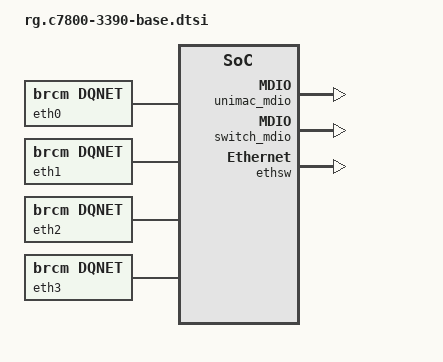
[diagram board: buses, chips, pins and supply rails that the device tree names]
/ {
	//Boot Assist
	boot-assist {
	    compatible = "brcm,brcm-ba";
	    version = < 0x00020002 >;
	    interrupts = <0 23 0x4 0 24 0x4>;
	    reg = <0x0 0x04000000 0x0 0x05500000>, //Memory Region
		  <0x0 0xd3800000 0x0 0x80>, //CPU_COMM_REGS_CPUC
		  <0x0 0xd3881000 0x0 0x50>, //RG_TOP_CTRL
		  <0x0 0xd3880000 0x0 0x374>, //CM_TOP_CTRL
		  <0x0 0xf0410000 0x0 0x600>, //AON_CTRL
		  <0x0 0xf1500000 0x0 0x3fff>, //MEMC_0
		  <0x0 0xf1580000 0x0 0x3fff>, //MEMC_1
		  <0x0 0xd3890158 0x0 0x4>, //JTAG_OTP_UB:STATUS_16
		  <0x0 0xd2100000 0x0 0x300>; //LEAP_CTRL: Control registers
	    reg-names = "mem", "cpuc", "rgtop", "cmtop", "aon", "mc0", "mc1", "otp", "leap";
	    allow-user-map;
	    stb = < 0xFFFFFFFF 0 2 50 10 >; //start, size, # cpu, priority, latency
	    rg = < 0xFFFFFFFF 0 2 50 10 >; //start, size, # cpu, priority, latency
	    tp1 = < 0x08000000 0x01400000 >; //start, size
	    cm_xfer = < 0x09410000 0x20000 0x2 >; //start, size, count
	    leap = < 0x07F00000 0x100000>; //start, size
	    arm_boot_rom = <0x09430000 0x00010000>; //start, size
	    cm_atw = < 0x0 0x04000000 0x4000000 0x0 0x4807FFFC 0x0 0x0 0x0 >; //index, start, size, destination, client0-3
	    cm_dsp_atw = < 0x1 0x08000000 0x200000 0x7e00000 0x4804FFFC 0x0 0x0 0x0 >; //index, start, size, destination, client0-3
	    cm_boot_atw = < 0x2 0x09400000 0x10000 0x1fc00000 0x40000 0x0 0x0 0x0 >; //index, start, size, destination, client0-3
	    //arc=<memc, index, ubus, exclusive, start, end, r_clients[8], w_clients[8]>
	};

	brcm-mbox {
	    compatible = "brcm,brcm-mbox";
	    reg = <0x0 0xd3800080 0x0 0x80>,  //MBOX_CPUC
		  <0x0 0xd3800000 0x0 0x80>;  //CPU_COMM_REGS_CPUC
	    interrupts = <0 129 0x4>;
	    read = < 0x0000011F >; /* 0,1,2,3,4,8 */
	    write = < 0x000003E4 >; /* 2, 5, 6, 7, 8, 9 */
	};

	fpm@0xd3a00000 {
		compatible = "brcm,fpm";
		reg = <0x0 0x0BC00000 0x0 0x02000000>,	/* Free Pool 0			*/
		      <0x0 0xd3a00000 0x0 0x30133>;	/* Registers			*/
//		      <0x0 0x86000000 0x0 0x02000000>;	/* Free Pool 1			*/
//		      <0x0 0x00000000 0x0 0x0>,		/* Free Pool 1			*/
//		      <0x0 0xd7e00000 0x0 0x1000>,	/* UBUS capture engines 0	*/
//		      <0x0 0xd3e00000 0x0 0x1000>;	/* UBUS capture engines 1	*/
		interrupts = <0 127 0>;
		init = <1>;
		pool-alloc-weight	= <1 1>;
		pool-free-weight	= <1 1>;
		track-tokens = <1>;
		track-on-err = <0>;
	};

	dqm: dqm@d3800000 {
		compatible = "brcm,dqm";
		reg = <0x0 0xd3800000 0x0 0xa580>;
		interrupts = <0 129 0>;

		dev-name = "cpucomm";

		l1-irq-mask-offset	= <0x0058>;
		l1-irq-status-offset	= <0x005c>;
		l1-irq-dqm-mask		= <0x00400000 0x00200000 0x00100000>;
		token-offset		= <0x1400>;

		cfg-offset		= <0x1c00 0x1c00 0x1c00>;
		lwm-irq-mask-offset	= <0x1cb4 0x1d44 0x1ddc>;
		lwm-irq-status-offset	= <0x1ca0 0x1d30 0x1dc8>;
		ne-irq-mask-offset	= <0x1c60 0x1cd8 0x1d6c>;
		ne-irq-status-offset	= <0x1c18 0x1cc4 0x1d58>;
		ne-status-offset	= <0x1c20 0x1cc8 0x1d5c>;
		fpm-alloc-offset	= <0x1df4 0x1df4 0x1df4>;

		q-ctl-base-offset	= <0x8000 0x8400 0x8800>;
		q-data-base-offset	= <0x9000 0x9400 0x9800>;
		q-status-base-offset	= <0x7400 0x7480 0x7500>;
		q-mib-base-offset	= <0xa000 0xa200 0xa400>;
		q-count			= <96>;
		cfg-qsm			= <1>;
		qsm-size		= <0x2fc0>;	/* Bx and beyond top 256 bytes reserved for random seed created by bootrom */
		#qsm-alloc-cells	= <4>;
		/* set all Q's to offload due to chip bug in Ax where non-offload doesn't work */
		/* do not use 3rd bank (Q #'s 64-95) due to chip bug in some Ax mask and other register reads & writes */
				/* Q #, # words/element, # elements (depth), offload(1)/non-offload(0) */
		qsm-allocation  	= < 2   4  8     1		/* RPC RG-->CM				*/
					    3   4  8     1		/* RPC RG<--CM				*/
					    8   4  8     1		/* RPC DECT-->CM			*/
					    9   4  8     1		/* RPC DECT<--CM			*/
					    10  2  16    1		/* Private Network DECT-->CM		*/
					    11  2  16    1		/* Private Network DECT<--CM		*/
					    14  2  16    1		/* Private Network RG (bridge)-->CM	*/
					    15  2  16    1		/* Private Network RG (bridge)<--CM	*/
					    20  4  8     1		/* RPC SVM-->CM				*/
					    21  4  8     1		/* RPC SVM<--CM				*/
					    32  2  64    1		/* RG DS Forward	(RG-->Runner)	*/
					    33  2  2048  1		/* WiFi US Forward	(WiFi-->Runner)	*/
					    34  2  64    1		/* RG DS Egress 	(RG-->Runner)	*/
					    35  2  64    1		/* RG US Egress 	(RG-->Runner)	*/
					    36  2  64    1		/* STB DS Forward	(STB-->Runner)	*/
					    37  2  64    1		/* STB US Forward	(STB-->Runner)	*/
					    38  2  64    1		/* STB DS Egress	(STB-->Runner)	*/
					    39  2  64    1		/* STB US Egress	(STB-->Runner)	*/
					    40  2  64    1		/* DFAP DS Forward	(DFAP-->Runner)	*/
					    41  2  64    1		/* DFAP US Forward	(DFAP-->Runner)	*/
					    42  2  64    1		/* DFAP DS Egress	(DFAP-->Runner)	*/
					    43  2  64    1		/* DFAP US Egress	(DFAP-->Runner)	*/
					    44  2  64    1		/* Viper DS Forward	(DFAP-->Runner)	*/
					    45  2  64    1		/* Viper US Forward	(DFAP-->Runner)	*/
					    46  2  64    1		/* Viper DS Egress	(DFAP-->Runner)	*/
					    47  2  64    1		/* Viper US Egress	(DFAP-->Runner)	*/
					    48  4  256   1		/* RG Exception 0	(Runner-->RG)	*/
					    49  4  256   1		/* RG Exception 1	(Runner-->RG)	*/
					    50  4  256   1		/* RG Exception 2	(Runner-->RG)	*/
					    51  4  256   1		/* RG Exception 3	(Runner-->RG)	*/
					    52  4  256   1		/* RG Exception 4	(Runner-->RG)	*/
					    53  4  256   1		/* RG Exception 5	(Runner-->RG)	*/
					    54  4  256   1		/* RG Exception 6	(Runner-->RG)	*/
					    55  4  256   1		/* RG Exception 7	(Runner-->RG)	*/
					    56  4  4000  1		/* WiFi 0 Rx		(Runner-->WiFi)	*/
					    57  4  4000  1		/* WiFi 0 Rx		(Runner-->WiFi)	*/
					    58  4  4000  1		/* WiFi 1 Rx		(Runner-->WiFi)	*/
					    59  4  4000  1 >;		/* WiFi 1 Rx		(Runner-->WiFi)	*/
	};

	rpcrgcm: rpcrgcm {
		compatible = "brcm,itc-rpc";
		dev-name = "rg-cm";
		dqm = "cpucomm";
		tx-q = <2>;
		rx-q = <3>;
	};

	rpcsvmcm: rpcsvmcm {
		compatible = "brcm,itc-rpc";
		dev-name = "svm-cm";
		dqm = "cpucomm";
		tx-q = <20>;
		rx-q = <21>;
	};

	qchan0: q-channel0 {
		dev-name = "fap-exception";

		#tx-q-cells = <4>;
		/*	DQM device,  	Q#,	Priority	US/DS					*/
		tx-q =	"cpucomm",	"35",	"0",		"upstream",	/* RG upstream egress	*/
			"cpucomm",	"34",	"0",		"downstream";	/* RG downstream egress	*/
		#rx-q-cells = <3>;
		/*	DQM device,	Q#,	Priority						*/
		rx-q =	"cpucomm",	"48",	"0";				/* Runner-->RG 0	*/

		type = "fap-exception";
		q-msg-fmt = "runner";
	};

	qchan1: q-channel1 {
		dev-name = "cm-private";

		#tx-q-cells = <3>;
		/*	DQM device,	Q#,	Priority	US/DS   			*/
		tx-q =	"cpucomm",	"14",	"0";				/* RG-->CM	*/
		#rx-q-cells = <3>;
		/*	DQM device,	Q#,	Priority					*/
		rx-q =	"cpucomm",	"15",	"0";				/* CM-->RG	*/

		type = "point-to-point";
		q-msg-fmt = "gfap";
	};

	priv0 { /* RG <--> CM private */
		compatible = "brcm,dqnet";
		channel = <&qchan1>;
		dev-name = "priv0";
		demux = "none";
		link-type = "rpc";
		rpc-channel = <&rpcrgcm>;
	};

	eth0: ethernet0 {
		compatible = "brcm,dqnet";
		channel = <&qchan0>;
		dev-name = "eth0";
		if-id = <2>;		/* rdpa_if_lan0 */
		if-sub-id = <0>;	/* if-sub-id must match the first column in phy-port node */
		demux = "subid";
		link-type = "switch";
		brcm-tag = <1>;
	};

	eth1: ethernet1 {
		compatible = "brcm,dqnet";
		channel = <&qchan0>;
		dev-name = "eth1";
		if-id = <3>;		/* rdpa_if_lan1 */
		if-sub-id = <1>;	/* if-sub-id must match the first column in phy-port node */
		demux = "subid";
		link-type = "switch";
		brcm-tag = <1>;
	};

	eth2: ethernet2 {
		compatible = "brcm,dqnet";
		channel = <&qchan0>;
		dev-name = "eth2";
		if-id = <4>;		/* rdpa_if_lan2 */
		if-sub-id = <2>;	/* if-sub-id must match the first column in phy-port node */
		demux = "subid";
		link-type = "switch";
		brcm-tag = <1>;
	};

	eth3: ethernet3 {
		compatible = "brcm,dqnet";
		channel = <&qchan0>;
		dev-name = "eth3";
		if-id = <5>;		/* rdpa_if_lan3 */
		if-sub-id = <3>;	/* if-sub-id must match the first column in phy-port node */
		demux = "subid";
		link-type = "switch";
		brcm-tag = <1>;
	};

	cm0 {
		compatible = "brcm,dqnet";
		channel = <&qchan0>;
		dev-name = "cm0";
		if-id = <0>;		/* rdpa_if_wan0 */
		demux = "subid";
		link-type = "rpc";
		rpc-channel = <&rpcrgcm>;
	};

	miimdiomux: miimdiomux@d3c026a0 {
		compatible = "brcm,miimdiomux3390";
		reg = <0 0xd3c026a0 0 0x4>;
		rgmii0-tx-select = "unimac";
		rgmii1-tx-select = "unimac";
		p7-rx-select = "runner";
		p4-rx-select = "moca";
		unimac-rx-select = "rgmii1";
		unimac-mdio-select = "mdio0";
		switch-mdio-select = "mdio1";
	};

	unimac_mdio: mdio@d040062c {
		compatible = "brcm,unimac-mdio";
		reg = <0 0xd040062c 0 0x8>;
		reg-names = "mdio";
		#size-cells = <1>;
		#address-cells = <0>;
	};

	switch_mdio: mdio@d4e403c0 {
		compatible = "brcm,unimac-mdio";
		reg = <0 0xd4e403c0 0 0x8>;
		reg-names = "mdio";
		#size-cells = <1>;
		#address-cells = <0>;
	};

	ethsw: ethsw@d4e00000 {
		compatible = "brcm,ethsw";
		reg        = <0x0 0xd4e00000 0x0 0x42000>,
			     <0x0 0xd3c00000 0x0 0x2800>;
		interrupts = <0 113 0>,
			     <0 114 0>;

		dev-name   = "ethsw";
		phy-port   = <0 2>,
			     <1 3>,
			     <2 4>,
			     <3 5>;
		mii-port   = <4 0 1000>;
		imp-port   = <5 2000>,
			     <7 2000>,
			     <8 2000>;
		eee-support = <1>;
		high-speed-imp = <1>;
		/* Thomas_Chiang, 20150722, customize the C7800 LED map */
		/* bit map start from bit 0 */
		/* phy-port 0 ~ 3 */
		led-map    = <0xf>;
	};

	runner: runner@0xd5000000 {
		compatible = "brcm,rdpa_cm";
		reg = <0x0 0xd5000000 0x0 0x000fc460>,	/* Registers			*/
		      <0x0 0x09c00000 0x0 0x02000000>,	/* Runner Extra Memory 0	*/
		      <0x0 0x00000000 0x0 0x00000000>,	/* Runner Extra Memory 1	*/
		      <0x0 0x09500000 0x0 0x00700000>;	/* Runner NAT Cache		*/
		freq = <800>;				/* MHz				*/
		lag-ports = < 0 1 2 >;
	};

	upg_fixed: upg_fixed {
		#clock-cells = <0>;
		compatible = "fixed-clock";
		clock-frequency = <27000000>;
	};

	suntop_pmx: pinmux@f0404100 {
		compatible = "pinctrl-single";
		reg = <0 0xf04040a4 0 0xc4>;
		#address-cells = <1>;
		#size-cells = <0>;
		pinctrl-single,bit-per-mux;
		pinctrl-single,register-width = <32>;
		pinctrl-single,function-mask = <0x1>;
		pinctrl-names = "default";
	};

	pmb@0xd3c03100 {
		compatible = "brcm,pmb";
		reg = <0 0xd3c03100 0 0x50000>;
		#address-cells = <0>;
		#size-cells = <1>;
		direct-access;

		pbcm@0x7 {
			compatible = "brcm,bpcm";
			reg = <0x7>;
			dev-name = "bpcm-fpm";
			zones = <1>;
			boot-on;
		};

		pbcm@0x8 {
			compatible = "brcm,bpcm";
			reg = <0x8>;
			dev-name = "bpcm-cpuc";
			zones = <1>;
			boot-on;
		};

		pbcm@0xb {
			compatible = "brcm,bpcm";
			reg = <0xb>;
			dev-name = "bpcm-unimac";
			zones = <1>;
			boot-on;
		};
	};

	pmb@0xf10b0f00 {
		compatible = "brcm,pmb";
		reg = <0 0xf10b0f00 0 0x10>;
		#address-cells = <0>;
		#size-cells = <1>;
		version=<2>;

		pbcm@0x0 {
			compatible = "brcm,bpcm";
			reg = <0x0>;
			dev-name = "bpcm-rdp";
			zones = <2>;
			boot-on;
		};
	};
};
